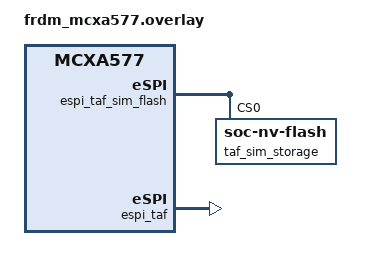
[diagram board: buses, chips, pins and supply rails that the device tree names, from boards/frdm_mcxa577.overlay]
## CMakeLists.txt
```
# SPDX-License-Identifier: Apache-2.0

cmake_minimum_required(VERSION 3.28.0)
find_package(Zephyr REQUIRED HINTS $ENV{ZEPHYR_BASE})
project(samples_driver_espi)

FILE(GLOB app_sources src/*.c)
target_sources(app PRIVATE src/main.c)

if(CONFIG_ESPI_OOB_CHANNEL)
target_sources(app PRIVATE src/espi_oob_handler.c)
endif()

if(CONFIG_ESPI_FLASH_CHANNEL)
target_sources(app PRIVATE src/espi_flash_caf_sample.c)
endif()

if(CONFIG_ESPI_TAF)
target_sources(app PRIVATE src/espi_taf_sample.c)
endif()

zephyr_compile_options(-Werror)
```

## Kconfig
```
# Private config options for eSPI sample app

# Copyright (c) 2019 Intel Corporation
# SPDX-License-Identifier: Apache-2.0

mainmenu "Enhanced Serial Peripheral Interface application"

config ESPI_VIRTUAL_WIRE_TIMEOUT
	int "Timeout for virtual wires"
	default 5000
	help
	  Timeout for virtual wires

config ESPI_USE_BOARD_POWER
	bool "Use board power"
	depends on $(dt_nodelabel_enabled,board_power)
	select GPIO
	default y

config ESPI_CAF_FLASH_REGION
	int "eSPI CAF flash test region start address"
	default 466944
	help
	  Starting address in SPI flash memory for eSPI CAF flash test.
	  Test will perform read/write operations to this region,
	  so it should be erased and not used for other purposes.
	  Refer to sample documentation for details.
source "Kconfig.zephyr"
```

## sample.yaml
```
sample:
  description: A basic demo to showcase eSPI driver usage and handshake with eSPI
    master
  name: eSPI driver sample
tests:
  sample.drivers.espi.nxp:
    tags:
      - drivers
      - espi
    platform_allow:
      - frdm_mcxa577
    depends_on: espi
    build_only: true
  sample.drivers.espi:
    tags:
      - drivers
      - espi
    filter: dt_compat_enabled("microchip,mec15xx-board-power")
    depends_on: espi
    harness: console
    harness_config:
      fixture: espi_device_connect
      type: multi_line
      ordered: true
      regex:
        - "Hello eSPI test (.*)"
        - "eSPI test - I/O initialization...complete"
        - "eSPI slave configured successfully!"
        - "eSPI test - callbacks initialization... complete"
        - "eSPI test - Power initialization...complete"
        - "eSPI BUS reset (.*)"
        - "espi: Hello eSPI test mec1501modular_assy6885"
        - "espi: eSPI slave configured successfully"
        - "espi: eSPI test - callbacks initialization..."
        - "espi: complete"
        - "espi: eSPI test - callbacks registration..."
        - "espi: complete"
        - "espi: eSPI BUS reset 1"
        - "espi: VW channel is ready"
        - "espi: Flash channel is ready"
        - "espi: Test eSPI write flash"
        - "espi: 16 write flash transactions completed"
        - "espi: 16 write flash transactions completed"
        - "espi: Test eSPI read flash"
        - "espi: 16 read flash transactions completed"
        - "espi: 16 read flash transactions completed"
        - "espi: eSPI test - Handshake with eSPI master..."
        - "espi: 1st phase completed"
        - "espi: 2nd phase completed"
        - "espi: PLT_RST changed 1"
        - "espi: 3rd phase completed"
        - "espi: get_pch_temp:"
        - "espi: OOB transaction completed rcvd: 4 bytes"
        - "espi: Postcode fe"
        - "espi: Postcode 7f"
        - "espi: eSPI sample completed"
```

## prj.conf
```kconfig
CONFIG_ESPI=y
CONFIG_STDOUT_CONSOLE=y
CONFIG_PRINTK=y
CONFIG_TEST_RANDOM_GENERATOR=y
```

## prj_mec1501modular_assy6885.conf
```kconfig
# eSPI + mec1501modular_assy6885
CONFIG_ESPI=y
CONFIG_LOG=y
CONFIG_LOG_BUFFER_SIZE=4096
CONFIG_LOG_PROCESS_THREAD_SLEEP_MS=100
# Disable only for this board to check notifications
CONFIG_ESPI_AUTOMATIC_WARNING_ACKNOWLEDGE=n
# Sample code doesn't handle ACPI host communication
CONFIG_ESPI_PERIPHERAL_HOST_IO=n
# This only makes sense for system using this board
CONFIG_ESPI_OOB_CHANNEL_RX_ASYNC=y
```

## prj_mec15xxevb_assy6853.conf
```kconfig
# eSPI + mec15xxevb_assy6853
CONFIG_ESPI=y
CONFIG_LOG=y
CONFIG_LOG_BUFFER_SIZE=4096
CONFIG_LOG_PROCESS_THREAD_SLEEP_MS=100
# Disable only for this board to check notifications
CONFIG_ESPI_AUTOMATIC_WARNING_ACKNOWLEDGE=n
# Sample code doesn't handle ACPI host communication
CONFIG_ESPI_PERIPHERAL_HOST_IO=n
# Test SAF flash portal read/erase/write on EVB
CONFIG_ESPI_SAF=y
CONFIG_SPI=y
CONFIG_SPI_XEC_QMSPI=y
```

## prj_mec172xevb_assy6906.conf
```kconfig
# eSPI + mec172xevb_assy6906
CONFIG_ESPI=y
CONFIG_LOG=y
CONFIG_LOG_BUFFER_SIZE=4096
CONFIG_LOG_PROCESS_THREAD_SLEEP_MS=100
# Disable only for this board to check notifications
CONFIG_ESPI_AUTOMATIC_WARNING_ACKNOWLEDGE=n
# Sample code doesn't handle ACPI host communication
CONFIG_ESPI_PERIPHERAL_HOST_IO=n
# Test SAF flash portal read/erase/write on EVB
CONFIG_ESPI_SAF=y
CONFIG_SPI=y
CONFIG_SPI_XEC_QMSPI_LDMA=y
```

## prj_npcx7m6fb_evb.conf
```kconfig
# eSPI + npcx7m6fb_evb
CONFIG_LOG=y
CONFIG_LOG_BUFFER_SIZE=4096
CONFIG_LOG_PROCESS_THREAD_SLEEP_MS=100

# Not supported yet
CONFIG_ESPI_AUTOMATIC_WARNING_ACKNOWLEDGE=n

CONFIG_ESPI=y
CONFIG_ESPI_FLASH_CHANNEL=y
```

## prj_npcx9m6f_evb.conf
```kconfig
# eSPI + npcx9m6f_evb
CONFIG_LOG=y
CONFIG_LOG_BUFFER_SIZE=4096
CONFIG_LOG_PROCESS_THREAD_SLEEP_MS=100

# Not supported yet
CONFIG_ESPI_AUTOMATIC_WARNING_ACKNOWLEDGE=n

CONFIG_ESPI=y
CONFIG_ESPI_FLASH_CHANNEL=y
```

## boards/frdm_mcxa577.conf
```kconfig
CONFIG_LOG=y
CONFIG_ESPI_VIRTUAL_WIRE_TIMEOUT=30000
CONFIG_ESPI_PERIPHERAL_DEBUG_PORT_80=y
CONFIG_ESPI_PERIPHERAL_HOST_IO=y
CONFIG_ESPI_OOB_CHANNEL=y

# eSPI depends on the flash device (flash-dev). The RAM flash simulator inits
# at CONFIG_FLASH_INIT_PRIORITY (POST_KERNEL+50), so eSPI must init after it.
CONFIG_ESPI_INIT_PRIORITY=60
```

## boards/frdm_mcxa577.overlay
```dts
/*
 * Copyright 2026 NXP
 *
 * SPDX-License-Identifier: Apache-2.0
 *
 * TAF (Target Attached Flash) test overlay for frdm_mcxa577.
 *
 * Instead of routing eSPI TAF flash requests to the on-board W25Q64 NOR
 * (flexspi), back the TAF flash device with a RAM-based flash simulator.
 * This lets the eSPI target respond to host-initiated flash read/write/erase
 * without depending on the physical SPI NOR part. The simulator allocates its
 * own static RAM buffer (no memory-region is specified).
 */

/ {
	soc {
		espi_taf_sim_flash: sim-flash@0 {
			compatible = "zephyr,sim-flash";
			reg = <0x0 0x1>;
			#address-cells = <1>;
			#size-cells = <1>;
			erase-value = <0xff>;

			taf_sim_storage: flash_sim@0 {
				compatible = "soc-nv-flash";
				reg = <0x00000000 DT_SIZE_K(64)>;
				erase-block-size = <DT_SIZE_K(4)>;
				write-block-size = <1>;
			};
		};
	};
};

&espi_taf {
	status = "okay";
	flash-dev = <&espi_taf_sim_flash>;
};
```

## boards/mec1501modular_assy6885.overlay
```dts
/*
 * Copyright (c) 2020 Intel Corporation
 *
 * SPDX-License-Identifier: Apache-2.0
 */

/ {
	board_power: resources {
		compatible = "intel,rvp-board-power";
		pwrg-gpios = <MCHP_GPIO_DECODE_012 GPIO_ACTIVE_HIGH>;
		rsm-gpios = <MCHP_GPIO_DECODE_054 GPIO_ACTIVE_HIGH>;
	};
};

&spi0 {
	port-sel = <0>;
	chip-select = <0>;
	lines = <4>;
	pinctrl-0 = <&shd_cs0_n_gpio055
		     &shd_clk_gpio056
		     &shd_io0_gpio223
		     &shd_io1_gpio224
		     &shd_io2_gpio227
		     &shd_io3_gpio016>;
	pinctrl-names = "default";
	status = "okay";
};
```

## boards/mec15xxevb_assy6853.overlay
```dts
/*
 * Copyright (c) 2020 Intel Corporation
 *
 * SPDX-License-Identifier: Apache-2.0
 */

/ {
	board_power: resources {
		compatible = "intel,rvp-board-power";
		pwrg-gpios = <MCHP_GPIO_DECODE_012 GPIO_ACTIVE_HIGH>;
		rsm-gpios = <MCHP_GPIO_DECODE_054 GPIO_ACTIVE_HIGH>;
	};
};

&espi_saf0 {
	status = "okay";
};

&spi0 {
	port-sel = <0>;
	chip-select = <0>;
	lines = <4>;
	status = "okay";
};
```

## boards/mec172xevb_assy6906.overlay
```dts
/*
 * Copyright (c) 2020 Intel Corporation
 *
 * SPDX-License-Identifier: Apache-2.0
 */

/ {
	board_power: resources {
		compatible = "intel,rvp-board-power";
		pwrg-gpios = <MCHP_GPIO_DECODE_012 GPIO_ACTIVE_HIGH>;
		rsm-gpios = <MCHP_GPIO_DECODE_054 GPIO_ACTIVE_HIGH>;
	};
};

&espi_taf0 {
	status = "okay";
};

/* Enable Target to Controller Virtual Wires GPIO 0 - 3 */
&vw_t2c_gpio_0 {
	status = "okay";
	reset-state = "1";
	reset-source = "ESPI_RESET";
};

&vw_t2c_gpio_1 {
	status = "okay";
	reset-state = "1";
	reset-source = "ESPI_RESET";
};

&vw_t2c_gpio_2 {
	status = "okay";
	reset-state = "1";
	reset-source = "ESPI_RESET";
};

&vw_t2c_gpio_3 {
	status = "okay";
	reset-state = "1";
	reset-source = "ESPI_RESET";
};

&qspi0 {
	status = "okay";
	clock-frequency = <24000000>;
};
```

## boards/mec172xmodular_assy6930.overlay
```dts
/*
 * Copyright (c) 2020 Intel Corporation
 *
 * SPDX-License-Identifier: Apache-2.0
 */

/ {
	board_power: resources {
		compatible = "intel,rvp-board-power";
		pwrg-gpios = <MCHP_GPIO_DECODE_012 GPIO_ACTIVE_HIGH>;
		rsm-gpios = <MCHP_GPIO_DECODE_054 GPIO_ACTIVE_HIGH>;
	};
};

/* Enable Target to Controller Virtual Wires GPIO 0 - 3 */
&vw_t2c_gpio_0 {
	reset-state = "1";
	reset-source = "ESPI_RESET";
	status = "okay";
};

&vw_t2c_gpio_1 {
	reset-state = "1";
	reset-source = "ESPI_RESET";
	status = "okay";
};

&vw_t2c_gpio_2 {
	reset-state = "1";
	reset-source = "ESPI_RESET";
	status = "okay";
};

&vw_t2c_gpio_3 {
	reset-state = "1";
	reset-source = "ESPI_RESET";
	status = "okay";
};

&qspi0 {
	clock-frequency = <24000000>;
	status = "okay";
};

/* Disable unwanted VWs notifications
 * Refer to include/zephyr/drivers/espi.h
 */
&vw_sus_stat_n {
	status = "disabled";
};

&vw_smiout_n {
	status = "disabled";
};

&vw_nmiout_n {
	status = "disabled";
};

&vw_slp_lan_n {
	status = "disabled";
};

&vw_slp_wlan_n {
	status = "disabled";
};

&vw_host_c10 {
	status = "disabled";
};
```

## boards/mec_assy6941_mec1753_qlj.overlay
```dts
/*
 * Copyright (c) 2026 Microchip Technology Inc.
 *
 * SPDX-License-Identifier: Apache-2.0
 */

/ {
	aliases {
		spi0 = &qspi0;
	};

	board_power: resources {
		compatible = "intel,rvp-board-power";
		pwrg-gpios = <MCHP_GPIO_DECODE_012 GPIO_ACTIVE_HIGH>;
		rsm-gpios = <MCHP_GPIO_DECODE_054 GPIO_ACTIVE_HIGH>;
	};
};

&espi0 {
	compatible = "microchip,xec-espi-v2";
	pinctrl-0 = <&espi_reset_n_gpio061 &espi_alert_n_gpio063
		     &espi_clk_gpio065 &espi_cs_n_gpio066
		     &espi_io0_gpio070 &espi_io1_gpio071
		     &espi_io2_gpio072 &espi_io3_gpio073>;
	pinctrl-names = "default";
	status = "okay";
};

&espi_taf0 {
	compatible = "microchip,xec-espi-saf-v2";
	status = "okay";
};

/* eSPI peripheral channel child devices */
&kbc0 {
	status = "okay";
};

&acpi_ec0 {
	status = "okay";
};

&acpi_ec1 {
	status = "okay";
};

&emi0 {
	status = "okay";
};

&p80bd0 {
	status = "okay";
};

/* Enable Target to Controller Virtual Wires GPIO 0 - 3 */
&vw_t2c_gpio_0 {
	reset-state = "1";
	reset-source = "ESPI_RESET";
	status = "okay";
};

&vw_t2c_gpio_1 {
	reset-state = "1";
	reset-source = "ESPI_RESET";
	status = "okay";
};

&vw_t2c_gpio_2 {
	reset-state = "1";
	reset-source = "ESPI_RESET";
	status = "okay";
};

&vw_t2c_gpio_3 {
	reset-state = "1";
	reset-source = "ESPI_RESET";
	status = "okay";
};

&qspi0 {
	compatible = "microchip,xec-qmspi-ldma";
	clock-frequency = <24000000>;
	pinctrl-0 = <&qspi_shd_cs0_n_gpio055 &qspi_shd_clk_gpio056
		     &qspi_shd_io0_gpio223 &qspi_shd_io1_gpio224
		     &qspi_shd_io2_gpio227 &qspi_shd_io3_gpio016>;
	pinctrl-names = "default";
	status = "okay";

	spi_flash0: spi_flash@0 {
		compatible = "jedec,spi-nor";
		reg = <0>;
		spi-max-frequency = <DT_FREQ_M(24)>;
		jedec-id = [ef 60 18]; /* W25Q128-FW 1.8V part */
		size = <DT_SIZE_M(16)>;
		page-size = <256>;
		use-fast-read;
		quad-enable-requirements = "S2B1v4";
	};
};
```

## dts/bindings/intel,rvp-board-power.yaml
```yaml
# SPDX-License-Identifier: Apache-2.0

compatible: "intel,rvp-board-power"

description: |
  Board GPIO power rails binding for Modular Embedded Controller cards that are connected to
  Intel RVP and get power from it.
  Provides GPIOs involved in eSPI controller-target handshake also known as power sequencing.
  Intended for use in board device trees where power rail status and ready signaling are required.

properties:
  pwrg-gpios:
    type: phandle-array
    required: true
    description: |
      Board GPIO input(s) used to detect that power rails are stable.

  rsm-gpios:
    type: phandle-array
    required: true
    description: |
      Board GPIO output(s) used to notify the controller/target that power has
      stabilized and minimum initialization is complete, so the controller/target
      can proceed with further handshake or initialization.
```

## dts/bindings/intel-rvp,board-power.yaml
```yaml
# SPDX-License-Identifier: Apache-2.0

compatible: "intel-rvp,board-power"

description: |
  Board GPIO power rails binding for Modular Embedded Controller cards that are connected to
  Intel RVP and get power from it.
  Provides GPIOs involved in eSPI controller-target handshake also known as power sequencing.
  Intended for use in board device trees where power rail status and ready signaling are required.

properties:
  pwrg-gpios:
    type: phandle-array
    required: true
    description: |
      Board GPIO input(s) used to detect that power rails are stable.

  rsm-gpios:
    type: phandle-array
    required: true
    description: |
      Board GPIO output(s) used to notify the controller/target that power has
      stabilized and minimum initialization is complete, so the controller/target
      can proceed with further handshake or initialization.
```

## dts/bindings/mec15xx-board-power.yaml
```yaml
# Copyright (c) 2020, Intel Corporation
# SPDX-License-Identifier: Apache-2.0

compatible: "microchip,mec15xx-board-power"

description: |
    This binding provides MEC15xx board gpio power rails resources to
    build and run samples/drives/espi in Zephyr.
    GPIOs required before performing a eSPI host-slave handshake

properties:
  pwrg-gpios:
    type: phandle-array
    required: true
    description: |
      Board GPIO input used to detect that power rails are stable.

  rsm-gpios:
    type: phandle-array
    required: true
    description: |
      Board GPIO output used to notify eSPI master to ackwnowledge
      power has stabilized and bare minimum initialization in eSPI slave
      is complete so eSPI master can proceed with eSPI handshake.
```

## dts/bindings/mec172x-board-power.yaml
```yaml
# Copyright (c) 2020, Microchip Technology Inc.
# SPDX-License-Identifier: Apache-2.0

compatible: "microchip,mec172x-board-power"

description: |
    This binding provides MEC172x board gpio power rails resources to
    build and run samples/drives/espi in Zephyr.
    GPIOs required before performing a eSPI host-slave handshake

properties:
  pwrg-gpios:
    type: phandle-array
    required: true
    description: |
      Board GPIO input used to detect that power rails are stable.

  rsm-gpios:
    type: phandle-array
    required: true
    description: |
      Board GPIO output used to notify eSPI master to ackwnowledge
      power has stabilized and bare minimum initialization in eSPI slave
      is complete so eSPI master can proceed with eSPI handshake.
```

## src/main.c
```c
/*
 * Copyright (c) 2019 Intel Corporation
 *
 * SPDX-License-Identifier: Apache-2.0
 */

#include <errno.h>
#include <zephyr/kernel.h>
#include <zephyr/device.h>
#include <soc.h>
#include <zephyr/drivers/gpio.h>
#include <zephyr/drivers/espi.h>
#include <zephyr/drivers/spi.h>
#include <zephyr/logging/log_ctrl.h>
#include <zephyr/logging/log.h>
#include "espi_oob_handler.h"

#ifdef CONFIG_ESPI_FLASH_CHANNEL
#include "espi_flash_caf_sample.h"
#endif

#ifdef CONFIG_ESPI_TAF
#include "espi_taf_sample.h"
#endif

LOG_MODULE_DECLARE(espi, CONFIG_ESPI_LOG_LEVEL);

#define ESPI_FREQ_20MHZ 20u
#define ESPI_FREQ_25MHZ 25u
#define ESPI_FREQ_66MHZ 66u

#define K_WAIT_DELAY 100u

/* eSPI event */
#define EVENT_MASK         0x0000FFFFu
#define EVENT_DETAILS_MASK 0xFFFF0000u
#define EVENT_DETAILS_POS  16u
#define EVENT_TYPE(x)      (x & EVENT_MASK)
#define EVENT_DETAILS(x)   ((x & EVENT_DETAILS_MASK) >> EVENT_DETAILS_POS)

#define PWR_SEQ_TIMEOUT 3000u

/* The devicetree node identifier for the board power rails pins. */
#define BRD_PWR_NODE DT_NODELABEL(board_power)

#ifdef CONFIG_ESPI_TAF_XEC_V2
#define ESPI_TAF_FLASH_CTRL_NODE DT_NODELABEL(qspi0)
#define ESPI_TAF_NODE            DT_NODELABEL(espi_taf0)
#else
#define ESPI_TAF_FLASH_CTRL_NODE DT_NODELABEL(spi0)
#define ESPI_TAF_NODE            DT_NODELABEL(espi_saf0)
#endif

#ifdef CONFIG_ESPI_USE_BOARD_POWER
static const struct gpio_dt_spec pwrgd_gpio = GPIO_DT_SPEC_GET(BRD_PWR_NODE, pwrg_gpios);
static const struct gpio_dt_spec rsm_gpio = GPIO_DT_SPEC_GET(BRD_PWR_NODE, rsm_gpios);
#endif

static const struct device *const espi_dev = DEVICE_DT_GET(DT_NODELABEL(espi0));
static struct espi_callback espi_bus_cb;
static struct espi_callback vw_rdy_cb;
static struct espi_callback vw_cb;
static struct espi_callback p80_cb;
static uint8_t espi_rst_sts;
#ifdef CONFIG_ESPI_OOB_CHANNEL_RX_ASYNC
static struct espi_callback oob_cb;
#endif

static void host_warn_handler(uint32_t signal, uint32_t status)
{
	switch (signal) {
	case ESPI_VWIRE_SIGNAL_HOST_RST_WARN:
		LOG_INF("Host reset warning %d", status);
		if (!IS_ENABLED(CONFIG_ESPI_AUTOMATIC_WARNING_ACKNOWLEDGE)) {
			LOG_INF("HOST RST ACK %d", status);
			espi_send_vwire(espi_dev, ESPI_VWIRE_SIGNAL_HOST_RST_ACK, status);
		}
		break;
	case ESPI_VWIRE_SIGNAL_SUS_WARN:
		LOG_INF("Host suspend warning %d", status);
		if (!IS_ENABLED(CONFIG_ESPI_AUTOMATIC_WARNING_ACKNOWLEDGE)) {
			LOG_INF("SUS ACK %d", status);
			espi_send_vwire(espi_dev, ESPI_VWIRE_SIGNAL_SUS_ACK, status);
		}
		break;
	default:
		break;
	}
}

/* eSPI bus event handler */
static void espi_reset_handler(const struct device *dev, struct espi_callback *cb,
			       struct espi_event event)
{
	if (event.evt_type == ESPI_BUS_RESET) {
		espi_rst_sts = event.evt_data;
		LOG_INF("eSPI BUS reset %d", event.evt_data);

		/* Re-enable interrupts after eSPI reset event */
		if (espi_rst_sts) {
			espi_interrupt_config(espi_dev, ESPI_INT_ALL_MASK, 0);
		}
	}
}

/* eSPI logical channels enable/disable event handler */
static void espi_ch_handler(const struct device *dev, struct espi_callback *cb,
			    struct espi_event event)
{
	if (event.evt_type == ESPI_BUS_EVENT_CHANNEL_READY) {
		switch (event.evt_details) {
		case ESPI_CHANNEL_VWIRE:
			LOG_INF("VW channel event %x", event.evt_data);
			break;
		case ESPI_CHANNEL_FLASH:
			LOG_INF("Flash channel event %d", event.evt_data);
			break;
		case ESPI_CHANNEL_OOB:
			LOG_INF("OOB channel event %d", event.evt_data);
			break;
		default:
			LOG_ERR("Unknown channel event");
		}
	}
}

/* eSPI vwire received event handler */
static void vwire_handler(const struct device *dev, struct espi_callback *cb,
			  struct espi_event event)
{
	if (event.evt_type == ESPI_BUS_EVENT_VWIRE_RECEIVED) {
		switch (event.evt_details) {
		case ESPI_VWIRE_SIGNAL_PLTRST:
			LOG_INF("PLT_RST changed %d", event.evt_data);
			break;
		case ESPI_VWIRE_SIGNAL_SLP_S3:
		case ESPI_VWIRE_SIGNAL_SLP_S4:
		case ESPI_VWIRE_SIGNAL_SLP_S5:
			LOG_INF("SLP signal changed %d", event.evt_data);
			break;
		case ESPI_VWIRE_SIGNAL_SUS_WARN:
		case ESPI_VWIRE_SIGNAL_HOST_RST_WARN:
			host_warn_handler(event.evt_details, event.evt_data);
			break;
		}
	}
}

/* eSPI peripheral channel notifications handler */
static void periph_handler(const struct device *dev, struct espi_callback *cb,
			   struct espi_event event)
{
	uint8_t periph_type;
	uint8_t periph_index;

	periph_type = EVENT_TYPE(event.evt_details);
	periph_index = EVENT_DETAILS(event.evt_details);

	switch (periph_type) {
	case ESPI_PERIPHERAL_DEBUG_PORT80:
		LOG_INF("Postcode %x", event.evt_data);
		break;
	case ESPI_PERIPHERAL_HOST_IO:
		LOG_INF("ACPI %x", event.evt_data);
		espi_remove_callback(espi_dev, &p80_cb);
		break;
	default:
		LOG_INF("%s periph 0x%x [%x]", __func__, periph_type, event.evt_data);
	}
}

int espi_init(void)
{
	int ret;
	/* Indicate to eSPI controller (host) simplest configuration: Single line,
	 * 20MHz frequency and only logical channel 0 and 1 are supported
	 */
	struct espi_cfg cfg = {
		.io_caps = ESPI_IO_MODE_SINGLE_LINE,
		.channel_caps = ESPI_CHANNEL_VWIRE | ESPI_CHANNEL_PERIPHERAL,
		.max_freq = ESPI_FREQ_20MHZ,
	};

	/* If eSPI driver supports additional capabilities use them */
#ifdef CONFIG_ESPI_OOB_CHANNEL
	cfg.channel_caps |= ESPI_CHANNEL_OOB;
#endif
#ifdef CONFIG_ESPI_FLASH_CHANNEL
	cfg.channel_caps |= ESPI_CHANNEL_FLASH;
	cfg.io_caps |= ESPI_IO_MODE_QUAD_LINES;
	cfg.max_freq = ESPI_FREQ_25MHZ;
#endif

	ret = espi_config(espi_dev, &cfg);
	if (ret) {
		LOG_ERR("Failed to configure eSPI target channels:%x err: %d", cfg.channel_caps,
			ret);
		return ret;
	} else {
		LOG_INF("eSPI target configured successfully!");
	}

	LOG_INF("eSPI test - callbacks initialization... ");
	espi_init_callback(&espi_bus_cb, espi_reset_handler, ESPI_BUS_RESET);
	espi_init_callback(&vw_rdy_cb, espi_ch_handler, ESPI_BUS_EVENT_CHANNEL_READY);
	espi_init_callback(&vw_cb, vwire_handler, ESPI_BUS_EVENT_VWIRE_RECEIVED);
	espi_init_callback(&p80_cb, periph_handler, ESPI_BUS_PERIPHERAL_NOTIFICATION);
#ifdef CONFIG_ESPI_OOB_CHANNEL_RX_ASYNC
	espi_init_callback(&oob_cb, oob_rx_handler, ESPI_BUS_EVENT_OOB_RECEIVED);
#endif
	LOG_INF("complete");

	LOG_INF("eSPI test - callbacks registration... ");
	espi_add_callback(espi_dev, &espi_bus_cb);
	espi_add_callback(espi_dev, &vw_rdy_cb);
	espi_add_callback(espi_dev, &vw_cb);
	espi_add_callback(espi_dev, &p80_cb);
#ifdef CONFIG_ESPI_OOB_CHANNEL_RX_ASYNC
	espi_add_callback(espi_dev, &oob_cb);
#endif

	espi_interrupt_config(espi_dev, ESPI_INT_BUS_ONLY_MASK, 0);
	LOG_INF("complete");

	return ret;
}

#ifdef CONFIG_ESPI_USE_BOARD_POWER
static int wait_for_pin(const struct gpio_dt_spec *gpio, uint16_t timeout, int exp_level)
{
	uint16_t loop_cnt = timeout;
	int level;

	do {
		level = gpio_pin_get_dt(gpio);
		if (level < 0) {
			LOG_ERR("Failed to read %x %d", gpio->pin, level);
			return -EIO;
		}

		if (exp_level == level) {
			LOG_DBG("PIN %x = %x", gpio->pin, exp_level);
			break;
		}

		k_usleep(K_WAIT_DELAY);
		loop_cnt--;
	} while (loop_cnt > 0);

	if (loop_cnt == 0) {
		LOG_ERR("Timeout for %x %x", gpio->pin, level);
		return -ETIMEDOUT;
	}

	return 0;
}
#endif

static int wait_for_vwire(const struct device *espi_dev, enum espi_vwire_signal signal,
			  uint16_t timeout, uint8_t exp_level)
{
	int ret;
	uint8_t level;
	uint16_t loop_cnt = timeout;

	do {
		ret = espi_receive_vwire(espi_dev, signal, &level);
		if (ret) {
			LOG_ERR("Failed to read %x %d", signal, ret);
			return -EIO;
		}

		if (exp_level == level) {
			break;
		}

		k_usleep(K_WAIT_DELAY);
		loop_cnt--;
	} while (loop_cnt > 0);

	if (loop_cnt == 0) {
		LOG_ERR("VWIRE %d is %x", signal, level);
		return -ETIMEDOUT;
	}

	return 0;
}

static int wait_for_espi_reset(uint8_t exp_sts)
{
	uint16_t loop_cnt = CONFIG_ESPI_VIRTUAL_WIRE_TIMEOUT;

	do {
		if (exp_sts == espi_rst_sts) {
			break;
		}
		k_usleep(K_WAIT_DELAY);
		loop_cnt--;
	} while (loop_cnt > 0);

	if (loop_cnt == 0) {
		return -ETIMEDOUT;
	}

	return 0;
}

int espi_handshake(void)
{
	int ret;

	LOG_INF("eSPI test - Handshake with eSPI controller (host)...");
	ret = wait_for_vwire(espi_dev, ESPI_VWIRE_SIGNAL_SUS_WARN, CONFIG_ESPI_VIRTUAL_WIRE_TIMEOUT,
			     1);
	if (ret) {
		LOG_ERR("SUS_WARN Timeout");
		return ret;
	}

	LOG_INF("1st phase completed");
	ret = wait_for_vwire(espi_dev, ESPI_VWIRE_SIGNAL_SLP_S5, CONFIG_ESPI_VIRTUAL_WIRE_TIMEOUT,
			     1);
	if (ret) {
		LOG_ERR("SLP_S5 Timeout");
		return ret;
	}

	ret = wait_for_vwire(espi_dev, ESPI_VWIRE_SIGNAL_SLP_S4, CONFIG_ESPI_VIRTUAL_WIRE_TIMEOUT,
			     1);
	if (ret) {
		LOG_ERR("SLP_S4 Timeout");
		return ret;
	}

	ret = wait_for_vwire(espi_dev, ESPI_VWIRE_SIGNAL_SLP_S3, CONFIG_ESPI_VIRTUAL_WIRE_TIMEOUT,
			     1);
	if (ret) {
		LOG_ERR("SLP_S3 Timeout");
		return ret;
	}

	LOG_INF("2nd phase completed");

	ret = wait_for_vwire(espi_dev, ESPI_VWIRE_SIGNAL_PLTRST, CONFIG_ESPI_VIRTUAL_WIRE_TIMEOUT,
			     1);
	if (ret) {
		LOG_ERR("PLT_RST Timeout");
		return ret;
	}

	LOG_INF("3rd phase completed");

	return 0;
}

#ifndef CONFIG_ESPI_AUTOMATIC_WARNING_ACKNOWLEDGE
static void send_target_bootdone(void)
{
	int ret;
	uint8_t boot_done;

	ret = espi_receive_vwire(espi_dev, ESPI_VWIRE_SIGNAL_TARGET_BOOT_DONE, &boot_done);
	LOG_INF("%s boot_done: %d", __func__, boot_done);
	if (ret) {
		LOG_WRN("Fail to retrieve target boot done");
	} else if (!boot_done) {
		/* TARGET_BOOT_DONE & TARGET_LOAD_STS have to be sent together */
		espi_send_vwire(espi_dev, ESPI_VWIRE_SIGNAL_TARGET_BOOT_STS, 1);
		espi_send_vwire(espi_dev, ESPI_VWIRE_SIGNAL_TARGET_BOOT_DONE, 1);
	}
}
#endif

int espi_test(void)
{
	int ret;

	/* Account for the time serial port is detected so log messages can
	 * be seen
	 */
	k_sleep(K_SECONDS(1));

#ifdef CONFIG_ESPI_USE_BOARD_POWER
	if (!gpio_is_ready_dt(&pwrgd_gpio)) {
		LOG_ERR("%s: device not ready.", pwrgd_gpio.port->name);
		return -ENODEV;
	}
	if (!gpio_is_ready_dt(&rsm_gpio)) {
		LOG_ERR("%s: device not ready.", rsm_gpio.port->name);
		return -ENODEV;
	}
#endif
	if (!device_is_ready(espi_dev)) {
		LOG_ERR("%s: device not ready.", espi_dev->name);
		return -ENODEV;
	}

#ifdef CONFIG_ESPI_TAF
	const struct device *const qspi_dev = DEVICE_DT_GET(ESPI_TAF_FLASH_CTRL_NODE);
	const struct device *const espi_saf_dev = DEVICE_DT_GET(ESPI_TAF_NODE);

	if (!device_is_ready(qspi_dev)) {
		LOG_ERR("%s: device not ready.", qspi_dev->name);
		return -ENODEV;
	}

	if (!device_is_ready(espi_saf_dev)) {
		LOG_ERR("%s: device not ready.", espi_saf_dev->name);
		return -ENODEV;
	}
#endif

	LOG_INF("Hello eSPI test %s", CONFIG_BOARD);

#ifdef CONFIG_ESPI_USE_BOARD_POWER
	ret = gpio_pin_configure_dt(&pwrgd_gpio, GPIO_INPUT);
	if (ret) {
		LOG_ERR("Unable to configure %d:%d", pwrgd_gpio.pin, ret);
		return ret;
	}

	ret = gpio_pin_configure_dt(&rsm_gpio, GPIO_OUTPUT);
	if (ret) {
		LOG_ERR("Unable to config %d: %d", rsm_gpio.pin, ret);
		return ret;
	}

	ret = gpio_pin_set_dt(&rsm_gpio, 0);
	if (ret) {
		LOG_ERR("Unable to initialize %d", rsm_gpio.pin);
		return -1;
	}
#endif

	espi_init();

#ifdef CONFIG_ESPI_TAF
	/*
	 * eSPI SAF configuration must be after eSPI configuration.
	 * eSPI SAF EC portal flash tests before EC releases RSMRST# and
	 * Host de-asserts ESPI_RESET#.
	 */
	ret = spi_saf_init();
	if (ret) {
		LOG_ERR("Unable to configure %d:%s", ret, qspi_dev->name);
		return ret;
	}

	ret = espi_saf_init();
	if (ret) {
		LOG_ERR("Unable to configure %d:%s", ret, espi_saf_dev->name);
		return ret;
	}

	ret = espi_saf_test1(SAF_SPI_TEST_ADDRESS);
	if (ret) {
		LOG_INF("eSPI SAF test1 returned error %d", ret);
	}
#endif

#ifdef CONFIG_ESPI_USE_BOARD_POWER
	ret = wait_for_pin(&pwrgd_gpio, PWR_SEQ_TIMEOUT, 1);
	if (ret) {
		LOG_ERR("RSMRST_PWRGD timeout");
		return ret;
	}

	ret = gpio_pin_set_dt(&rsm_gpio, 1);
	if (ret) {
		LOG_ERR("Failed to set rsm err: %d", ret);
		return ret;
	}
#endif
	ret = wait_for_espi_reset(1);
	if (ret) {
		LOG_INF("ESPI_RESET timeout");
		return ret;
	}

#ifndef CONFIG_ESPI_AUTOMATIC_WARNING_ACKNOWLEDGE
	/* When automatic acknowledge is disabled to perform lengthy operations
	 * in the eSPI target, need to explicitly send target boot virtual wires
	 */
	bool vw_ch_sts;

	/* Simulate lengthy operation during boot */
	k_sleep(K_SECONDS(2));

	do {
		vw_ch_sts = espi_get_channel_status(espi_dev, ESPI_CHANNEL_VWIRE);
		k_busy_wait(100);
	} while (!vw_ch_sts);

	send_target_bootdone();
#endif

#ifdef CONFIG_ESPI_FLASH_CHANNEL
	/* Flash operation need to be perform before VW handshake or
	 * after eSPI host completes full initialization.
	 * This sample code can't assume a full initialized eSPI host
	 * so flash operations are perform here.
	 */
	bool flash_sts;

	do {
		flash_sts = espi_get_channel_status(espi_dev, ESPI_CHANNEL_FLASH);
		k_busy_wait(100);
	} while (!flash_sts);

	/* eSPI flash test can fail and rest of operation can continue */
	ret = espi_flash_test(TARGET_FLASH_REGION, 1);
	if (ret) {
		LOG_INF("eSPI flash test failed %d", ret);
	}
#endif

	/* Showcase VW channel by exchanging virtual wires with eSPI host */
	ret = espi_handshake();
	if (ret) {
		LOG_ERR("eSPI VW handshake failed %d", ret);
		return ret;
	}

	/* Use OOB channel, if enabled, to read PCH temperature */
	if (IS_ENABLED(CONFIG_ESPI_OOB_CHANNEL_RX_ASYNC)) {
		/* System with host-initiated OOB Rx traffic */
		get_pch_temp_async(espi_dev);
	} else if (IS_ENABLED(CONFIG_ESPI_OOB_CHANNEL)) {
		/* System without host-initiated OOB Rx traffic */
		get_pch_temp_sync(espi_dev);
	}

	/* Cleanup */
	k_sleep(K_SECONDS(1));
	espi_remove_callback(espi_dev, &espi_bus_cb);
	espi_remove_callback(espi_dev, &vw_rdy_cb);
	espi_remove_callback(espi_dev, &vw_cb);

	LOG_INF("eSPI sample completed err: %d", ret);

	return ret;
}

int main(void)
{
	espi_test();
	return 0;
}
```

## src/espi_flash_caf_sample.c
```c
/*
 * Copyright (c) 2025 Intel Corporation
 *
 * SPDX-License-Identifier: Apache-2.0
 */

#include <string.h>
#include <zephyr/logging/log.h>
#include <zephyr/drivers/espi.h>

#include "espi_flash_caf_sample.h"

LOG_MODULE_DECLARE(espi, CONFIG_ESPI_LOG_LEVEL);

/* Ensure test buffer multiples of max flash request size*/
#define TEST_BUF_SIZE   (MAX_FLASH_REQUEST * 16U)


static const struct device *const espi_dev = DEVICE_DT_GET(DT_NODELABEL(espi0));

uint8_t flash_write_buf[TEST_BUF_SIZE];
uint8_t flash_read_buf[TEST_BUF_SIZE];

int read_test_block(uint8_t *buf, uint32_t start_flash_adr, uint16_t block_len)
{
	uint8_t i = 0;
	uint32_t flash_addr = start_flash_adr;
	uint16_t transactions = block_len / MAX_FLASH_REQUEST;
	int ret = 0;
	struct espi_flash_packet pckt;

	for (i = 0; i < transactions; i++) {
		pckt.buf = buf;
		pckt.flash_addr = flash_addr;
		pckt.len = MAX_FLASH_REQUEST;

		ret = espi_read_flash(espi_dev, &pckt);
		if (ret) {
			LOG_ERR("espi_read_flash failed: %d", ret);
			return ret;
		}

		buf += MAX_FLASH_REQUEST;
		flash_addr += MAX_FLASH_REQUEST;
	}

	LOG_INF("%d read flash transactions completed", transactions);
	return 0;
}

int write_test_block(uint8_t *buf, uint32_t start_flash_adr, uint16_t block_len)
{
	uint8_t i = 0;
	uint32_t flash_addr = start_flash_adr;
	uint16_t transactions = block_len / MAX_FLASH_REQUEST;
	int ret = 0;
	struct espi_flash_packet pckt;

	/* Split operation in multiple MAX_FLASH_REQ transactions */
	for (i = 0; i < transactions; i++) {
		pckt.buf = buf;
		pckt.flash_addr = flash_addr;
		pckt.len = MAX_FLASH_REQUEST;

		ret = espi_write_flash(espi_dev, &pckt);
		if (ret) {
			LOG_ERR("espi_write_flash failed: %d", ret);
			return ret;
		}

		buf += MAX_FLASH_REQUEST;
		flash_addr += MAX_FLASH_REQUEST;
	}

	LOG_INF("%d write flash transactions completed", transactions);
	return 0;
}

int espi_flash_test(uint32_t start_flash_addr, uint8_t blocks)
{
	uint8_t i;
	uint8_t pattern;
	uint32_t flash_addr;
	int ret = 0;

	LOG_INF("Test eSPI write flash");
	flash_addr = start_flash_addr;
	pattern = 0x99;
	for (i = 0; i < blocks; i++) {
		memset(flash_write_buf, pattern++, sizeof(flash_write_buf));
		ret = write_test_block(flash_write_buf, flash_addr, sizeof(flash_write_buf));
		if (ret) {
			LOG_ERR("Failed to write to eSPI");
			return ret;
		}

		flash_addr += sizeof(flash_write_buf);
	}

	LOG_INF("Test eSPI read flash");
	flash_addr = start_flash_addr;
	pattern = 0x99;
	for (i = 0; i < blocks; i++) {
		/* Set expected content */
		memset(flash_write_buf, pattern, sizeof(flash_write_buf));
		/* Clear last read content */
		memset(flash_read_buf, 0, sizeof(flash_read_buf));
		ret = read_test_block(flash_read_buf, flash_addr, sizeof(flash_read_buf));
		if (ret) {
			LOG_ERR("Failed to read from eSPI");
			return ret;
		}

		/* Compare buffers and report the first mismatching byte */
		if (memcmp(flash_write_buf, flash_read_buf, sizeof(flash_write_buf)) != 0) {
			size_t pos = 0;

			while ((pos < sizeof(flash_read_buf)) &&
			       (flash_read_buf[pos] == flash_write_buf[pos])) {
				pos++;
			}

			LOG_ERR("eSPI read mismatch at block %u offset %zu expected %x got %x", i,
				pos, pattern, flash_read_buf[pos]);
		}

		flash_addr += sizeof(flash_read_buf);
		pattern++;
	}

	return 0;
}
```

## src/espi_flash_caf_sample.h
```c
/*
 * Copyright (c) 2025 Intel Corporation
 *
 * SPDX-License-Identifier: Apache-2.0
 */

#ifndef ESPI_FLASH_SAMPLE_H
#define ESPI_FLASH_SAMPLE_H

#include <zephyr/device.h>

#define MAX_FLASH_REQUEST   64u
/*
 * Assumes eSPI host is in CAF (Controller Attached Flash) mode
 * and EC has access to the EC flash region.
 * In most cases, this region is intended for EC firmware fetch over eSPI in CAF mode.
 * If running with an eSPI emulator, this region can be configured as desired.
 *
 * Example SPI flash map for CAF mode:
 * ------------------------------------------------------------------------------
 * | 0x00000 - 0x3FFFF  | Reserved for Intel internal use                       |
 * | 0x40000 - 0x90000  | EC firmware region for EC FW fetch over eSPI in CAF   |
 * | 0x90000 - end      | Reserved for Intel use (BIOS, ME, etc.)               |
 * ------------------------------------------------------------------------------
 */
#define TARGET_FLASH_REGION   CONFIG_ESPI_CAF_FLASH_REGION

/**
 * @brief Test eSPI flash read/write operations
 *
 * Performs flash read and write operations via eSPI flash channel APIs to verify
 * communication and data integrity.
 *
 * Test assumes that eSPI host is in CAF (controller attached flash) mode and flash region starting
 * from start_flash_addr is erased and available for test.
 *
 * @param start_flash_addr Starting address in SPI flash memory for the test
 * @param blocks Number of blocks to test
 * @return 0 on success, negative errno code on failure
 */
int espi_flash_test(uint32_t start_flash_addr, uint8_t blocks);


#endif /* ESPI_FLASH_SAMPLE_H */
```

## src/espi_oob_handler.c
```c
/*
 * Copyright (c) 2020 Intel Corporation
 *
 * SPDX-License-Identifier: Apache-2.0
 */

#include <zephyr/device.h>
#include <soc.h>
#include <zephyr/drivers/espi.h>
#include <zephyr/logging/log_ctrl.h>
#include <zephyr/logging/log.h>
#include "espi_oob_handler.h"

LOG_MODULE_DECLARE(espi, CONFIG_ESPI_LOG_LEVEL);

struct oob_header {
	uint8_t dest_addr;
	uint8_t oob_cmd_code;
	uint8_t byte_cnt;
	uint8_t src_addr;
};

#ifdef CONFIG_ESPI_OOB_CHANNEL_RX_ASYNC

#define OOB_THREAD_STACK_SIZE  512ul
#define OOB_THREAD_PRIORITY    K_PRIO_COOP(5)
#define OOB_THREAD_WAIT        -1

/* Thread to process asynchronous callbacks */
void espihub_thread(void *p1, void *p2, void *p3);

void temperature_timer(struct k_timer *timer_id);

K_TIMER_DEFINE(temp_timer, temperature_timer, NULL);
K_THREAD_DEFINE(espihub_thrd_id, OOB_THREAD_STACK_SIZE, espihub_thread,
		NULL, NULL, NULL,
		OOB_THREAD_PRIORITY, K_INHERIT_PERMS, OOB_THREAD_WAIT);

K_MSGQ_DEFINE(from_host, sizeof(uint8_t), 8, 4);

struct thread_context {
	const struct device  *espi_dev;
	int                  cycles;
};

static struct thread_context context;
static bool need_temp;
#endif /* CONFIG_ESPI_OOB_CHANNEL_RX_ASYNC */

static struct espi_oob_packet resp_pckt;
static uint8_t buf[MAX_ESPI_OOB_BUF_LEN];

static int request_temp(const struct device *dev)
{
	int ret;
	struct oob_header oob_hdr;
	struct espi_oob_packet req_pckt;

	LOG_WRN("%s", __func__);

	oob_hdr.dest_addr = PCH_OOB_DEST_ADDR;
	oob_hdr.oob_cmd_code = PECI_OOB_GET_TEMP_CMDCODE;
	oob_hdr.byte_cnt = 1;
	oob_hdr.src_addr = PCH_OOB_SRC_ADDR;

	/* Packetize OOB request */
	req_pckt.buf = (uint8_t *)&oob_hdr;
	req_pckt.len = sizeof(struct oob_header);

	ret = espi_send_oob(dev, &req_pckt);
	if (ret) {
		LOG_ERR("OOB Tx failed %d", ret);
		return ret;
	}

	return 0;
}

static int retrieve_packet(const struct device *dev, uint8_t *sender)
{
	int ret;

#ifdef CONFIG_ESPI_OOB_CHANNEL_RX_ASYNC
	/* Note that no data is in the item */
	uint8_t response_len;

	if (k_msgq_num_used_get(&from_host) == 0U) {
		return -EINVAL;
	}

	k_msgq_get(&from_host, &response_len, K_FOREVER);
#endif

	resp_pckt.buf = (uint8_t *)&buf;
	resp_pckt.len = MAX_ESPI_OOB_BUF_LEN;

	ret = espi_receive_oob(dev, &resp_pckt);
	if (ret) {
		LOG_ERR("OOB Rx failed %d", ret);
		return ret;
	}

	LOG_INF("OOB transaction completed rcvd: %d bytes", resp_pckt.len);
	for (int i = 0; i < resp_pckt.len; i++) {
		LOG_INF("%x ", buf[i]);
	}

	if (sender) {
		*sender = buf[PECI_OOB_RESPONSE_SENDER_INDEX];
	}

	return 0;
}

int get_pch_temp_sync(const struct device *dev)
{
	int ret;

	for (int i = 0; i < MIN_GET_TEMP_CYCLES; i++) {
		ret = request_temp(dev);
		if (ret) {
			LOG_ERR("OOB req failed %d", ret);
			return ret;
		}

		ret = retrieve_packet(dev, NULL);
		if (ret) {
			LOG_ERR("OOB retrieve failed %d", ret);
			return ret;
		}
	}

	return 0;
}

int get_pch_temp_async(const struct device *dev)
{
#if !defined(CONFIG_ESPI_OOB_CHANNEL) || \
	!defined(CONFIG_ESPI_OOB_CHANNEL_RX_ASYNC)
	return -ENOTSUP;
#else
	context.espi_dev = dev;
	context.cycles = MIN_GET_TEMP_CYCLES;

	k_thread_start(espihub_thrd_id);
	k_thread_join(espihub_thrd_id, K_FOREVER);

	return 0;
#endif
}

#ifdef CONFIG_ESPI_OOB_CHANNEL_RX_ASYNC

void oob_rx_handler(const struct device *dev, struct espi_callback *cb,
		    struct espi_event event)
{
	uint8_t last_resp_len = event.evt_details;

	LOG_WRN("%s", __func__);
	/* Post for post-processing in a thread
	 * Should not attempt to retrieve in callback context
	 */
	k_msgq_put(&from_host, &last_resp_len, K_NO_WAIT);
}


void temperature_timer(struct k_timer *timer_id)
{
	LOG_WRN("%s", __func__);
	need_temp = true;
}

void espihub_thread(void *p1, void *p2, void *p3)
{
	int ret;
	uint8_t temp;
	uint8_t sender;

	LOG_DBG("%s", __func__);
	k_timer_start(&temp_timer, K_MSEC(100), K_MSEC(100));
	while (context.cycles > 0) {
		k_msleep(50);

		ret = retrieve_packet(context.espi_dev, &sender);
		if (!ret) {
			switch (sender) {
			case PCH_OOB_DEST_ADDR:
				LOG_INF("PCH response");
				/* Any other checks */
				if (resp_pckt.len == PECI_OOB_RESPONSE_LENGTH) {
					temp = buf[PECI_OOB_RESPONSE_DATA_INDEX];
					LOG_INF("Temp %d", temp);
				} else {
					LOG_ERR("Incorrect size response");
				}

				break;
			default:
				LOG_INF("Other host sender %x", sender);
			}
		} else {
			LOG_ERR("Failure to retrieve temp %d", ret);
		}

		/* Decrease cycles in both cases failure/success */
		context.cycles--;

		if (need_temp) {
			request_temp(context.espi_dev);
			need_temp = false;
		}
	}

	k_timer_stop(&temp_timer);
}

#endif /* CONFIG_ESPI_OOB_CHANNEL_RX_ASYNC */
```

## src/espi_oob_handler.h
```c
/*
 * Copyright (c) 2020 Intel Corporation
 *
 * SPDX-License-Identifier: Apache-2.0
 */

#ifndef __ESPI_OOB_HANDLER_H__
#define __ESPI_OOB_HANDLER_H__

/* eSPI host PECI over eSPI spec partial definitions for this sample code */
#define PCH_OOB_DEST_ADDR               0x02u
#define PCH_OOB_SRC_ADDR                0x21u
#define PECI_OOB_RESPONSE_SENDER_INDEX  0x02u
#define PECI_OOB_RESPONSE_DATA_INDEX    0x04u
#define PECI_OOB_GET_TEMP_CMDCODE       0x01u
#define PECI_OOB_RESPONSE_LENGTH        0x05u
#define MAX_ESPI_OOB_BUF_LEN            80u

/* Test definitions */
#define MIN_GET_TEMP_CYCLES             5u
#define MAX_GET_TEMP_TIMEOUT_MS         100ul

/**
 * @brief eSPI OOB receive handler.
 *
 * This function is called when an OOB (Out-Of-Band) event is received
 * over the eSPI interface. It processes the received OOB event and
 * performs any necessary actions based on the event data.
 *
 * @param dev Pointer to the eSPI device structure.
 * @param cb Pointer to the eSPI callback structure.
 * @param event The eSPI event data structure containing event details.
 */
void oob_rx_handler(const struct device *dev, struct espi_callback *cb,
		    struct espi_event event);

/**
 * @brief Retrieve PCH temperature over OOB channel.
 * Assumes OOB Tx and Rx as synchronous operation.
 *
 * @param dev eSPI driver handle.
 *
 * @retval 0 If successful.
 * @retval -ENOTSUP returned when OOB channel is not supported.
 * @retval -EINVAL is returned when OOB parameters are invalid.
 *
 */
int get_pch_temp_sync(const struct device *dev);


/**
 * @brief Retrieve PCH temperature over OOB channel.
 * Assumes OOB Tx and Rx as synchronous operation.
 *
 * @param dev eSPI driver handle.
 *
 * @retval 0 If successful.
 * @retval -ENOTSUP returned when OOB channel is not supported.
 * @retval -ETIMEOUT OOB operations could not be started.
 *
 */
int get_pch_temp_async(const struct device *dev);

#endif /* __ESPI_OOB_HANDLER_H__ */
```

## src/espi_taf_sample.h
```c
/*
 * Copyright (c) 2019 Microchip Technology Inc.
 *
 * SPDX-License-Identifier: Apache-2.0
 */

#ifndef __ESPI_TAF_SAMPLE_H__
#define __ESPI_TAF_SAMPLE_H__

/* TAF Base Address */
#ifdef CONFIG_ESPI_TAF_XEC_V2
#define TAF_BASE_ADDR DT_REG_ADDR(DT_NODELABEL(espi_taf0))
#else
#define TAF_BASE_ADDR DT_REG_ADDR(DT_NODELABEL(espi_saf0))
#endif

/* TAF Test Configuration */
#define TAF_TEST_FREQ_HZ  24000000U
#define TAF_TEST_BUF_SIZE 4096U

/* SPI address of 4KB sector modified by test */
#define TAF_SPI_TEST_ADDRESS 0x1000U

/* SPI Command Definitions */
#define SPI_WRITE_STATUS1   0x01U
#define SPI_WRITE_STATUS2   0x31U
#define SPI_WRITE_DISABLE   0x04U
#define SPI_READ_STATUS1    0x05U
#define SPI_WRITE_ENABLE    0x06U
#define SPI_READ_STATUS2    0x35U
#define SPI_WRITE_ENABLE_VS 0x50U
#define SPI_READ_JEDEC_ID   0x9FU

/* SPI Status Register Bits */
#define SPI_STATUS1_BUSY 0x80U
#define SPI_STATUS2_QE   0x02U

/* W25Q128 3.3V part JEDEC ID */
#define W25Q128_JEDEC_ID 0x001840efU
/* W25Q128 1.8V part JEDEC ID */
#define W25Q128_FW_JEDEC_ID 0x001860efU

/* TAF Erase Sizes */
enum taf_erase_size {
	TAF_ERASE_4K = 0,
	TAF_ERASE_32K = 1,
	TAF_ERASE_64K = 2,
	TAF_ERASE_MAX
};

/* TAF Address Info Structure */
struct taf_addr_info {
	uintptr_t taf_struct_addr;
	uintptr_t taf_exp_addr;
};

/**
 * @brief Initialize the SPI flash for TAF operations
 *
 * Initializes the local attached SPI flash by:
 * 1. Getting SPI driver binding
 * 2. Reading JEDEC ID and verifying it's a W25Q128
 * 3. Reading STATUS2 and checking QE bit
 * 4. If QE bit is not set, enabling volatile QE bit
 *
 * @return 0 on success, negative errno on failure
 */
int spi_taf_init(void);

/**
 * @brief Initialize eSPI TAF (Trusted Attached Flash)
 *
 * Configures the eSPI TAF controller with flash device parameters
 * and protection regions.
 *
 * @return 0 on success, negative errno on failure
 */
int espi_taf_init(void);

/**
 * @brief Run eSPI TAF test sequence
 *
 * Tests TAF operations including:
 * - Activation
 * - Erase operations
 * - Read operations
 * - Page program operations
 * - Data verification
 *
 * @param spi_addr SPI flash address to test (should be 4KB aligned)
 * @return 0 on success, negative errno on failure
 */
int espi_taf_test1(uint32_t spi_addr);

#endif /* __ESPI_TAF_SAMPLE_H__ */
```
